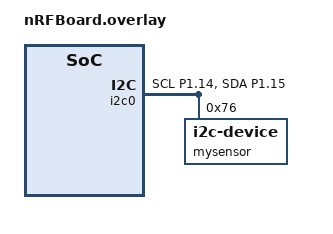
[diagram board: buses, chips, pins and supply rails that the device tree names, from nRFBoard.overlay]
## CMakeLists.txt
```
cmake_minimum_required(VERSION 3.20.0)
list(APPEND ZEPHYR_EXTRA_MODULES
  ${CMAKE_CURRENT_SOURCE_DIR}/drivers
)


find_package(Zephyr REQUIRED HINTS $ENV{ZEPHYR_BASE})

project(nrf_daq)

target_sources(app PRIVATE src/main.c)
zephyr_include_directories(drivers)
```

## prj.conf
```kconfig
CONFIG_I2C=y
CONFIG_SENSOR=y
CONFIG_PWM=y
CONFIG_CBPRINTF_FP_SUPPORT=y

CONFIG_UART_LINE_CTRL=y

CONFIG_LOG=y
CONFIG_LED_STRIP=y
CONFIG_LED_STRIP_LOG_LEVEL_DBG=y
CONFIG_WS2812_STRIP=y
CONFIG_SPI=y
```

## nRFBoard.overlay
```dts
&i2c0 {
    status = "okay";
    pinctrl-0 = <&i2c0_default>;
	pinctrl-1 = <&i2c0_sleep>;
    pinctrl-names = "default", "sleep";
    mysensor: mysensor@77{
        compatible = "i2c-device";
        status = "okay";
        reg = < 0x76>;
    };
};

&pinctrl {
	/omit-if-no-ref/ i2c0_default: i2c0_default {
		group1  {
			psels = <NRF_PSEL(TWIM_SCL, 1, 14)>,
					<NRF_PSEL(TWIM_SDA, 1, 15)>;
		};
	};

	/omit-if-no-ref/ i2c0_sleep: i2c0_sleep {
		group1  {
			psels = <NRF_PSEL(TWIM_SCL, 1, 14)>,
					<NRF_PSEL(TWIM_SDA, 1, 15)>;
			low-power-enable;
		};
	};
};
```

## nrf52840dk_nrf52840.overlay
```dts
/*
 * Copyright (c) 2023 Nordic Semiconductor ASA
 *
 * SPDX-License-Identifier: Apache-2.0
 */

/* Note that default partition layout, provided by board DTS, is not
 * altered here as external_partition used by the disk is defined
 * over QSPI device and does not collide with any other partition
 * definition.
 */

&i2c0 {	status = "disabled";};
&spi0 {	status = "disabled";};
&i2c1 {	status = "disabled";};
&spi1 {	status = "disabled";};

&i2c0 {
	status = "okay";
	pinctrl-0 = <&i2c0_default>;
	pinctrl-1 = <&i2c0_sleep>;
	pinctrl-names = "default", "sleep";
	bme280: bme280@76 {
		compatible = "zephyr,custom-bme280";
		reg = <0x76>;
	};
};

&pinctrl {
	i2c0_default: i2c0_default {
		group1 {
			psels = <NRF_PSEL(TWIM_SDA, 0, 26)>,
					<NRF_PSEL(TWIM_SCL, 0, 27)>;
		};
	};

	i2c0_sleep: i2c0_sleep {
		group1 {
			psels = <NRF_PSEL(TWIM_SDA, 0, 26)>,
					<NRF_PSEL(TWIM_SCL, 0, 27)>;
			low-power-enable;
		};
	};
};
```

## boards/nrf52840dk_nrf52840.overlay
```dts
&i2c0 {
    status = "okay";
    pinctrl-0 = <&i2c0_default>;
	pinctrl-1 = <&i2c0_sleep>;
    pinctrl-names = "default", "sleep";
    mysensor: mysensor@77{
        compatible = "i2c-device";
        status = "okay";
        reg = < 0x76>;
    };
};

&pinctrl {
	/omit-if-no-ref/ i2c0_default: i2c0_default {
		group1  {
			psels = <NRF_PSEL(TWIM_SCL, 1, 14)>,
					<NRF_PSEL(TWIM_SDA, 1, 15)>;
		};
	};

	/omit-if-no-ref/ i2c0_sleep: i2c0_sleep {
		group1  {
			psels = <NRF_PSEL(TWIM_SCL, 1, 14)>,
					<NRF_PSEL(TWIM_SDA, 1, 15)>;
			low-power-enable;
		};
	};
};
```

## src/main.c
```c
#include <zephyr/drivers/sensor.h>
#include <zephyr/drivers/i2c.h>
#include <zephyr/sys/printk.h>

// Depth sensor additions
#include <zephyr/kernel.h>
#include <zephyr/device.h>
#include <zephyr/devicetree.h>

#include "sensor/bno055/bno055.h"
#include "led/ws2812/led_driver.h"
#include "bar30/bar30.h"

#define MOVING_AVERAGE_WINDOW 10  // Samples for smoothing

// Constants for pressure to depth conversion
#define GRAV 9.80665
#define WATER_DENSITY 997.0474
#define ATM_PRESSURE 101500

// Reference to sensor in overlay file
#define I2C_NODE DT_NODELABEL(mysensor)

int pitch_history[MOVING_AVERAGE_WINDOW] = {0}; 
int history_index = 0;

int calculate_moving_average() {
    int sum = 0;
    for (int i = 0; i < MOVING_AVERAGE_WINDOW; i++) {
        sum += pitch_history[i];
    }
    return sum / MOVING_AVERAGE_WINDOW;
}

int main(void)
{
    static const struct i2c_dt_spec dev_i2c = I2C_DT_SPEC_GET(I2C_NODE);

    // Check if i2c communication is ready for depth-sensor
    if (!device_is_ready(dev_i2c.bus)) {
        printk("I2C bus not ready\n");
        return -1;
    }
  
    // Check if depth-sensor is initialized and ready
    if (bar30_init(&dev_i2c) != 0) {
        printk("Initialization failed\n");
        return -1;
    }
  
    if(setup_led()) {
        printk("Failed to setup LED\n");
        return -1;
    }

    if(setup_bno055()) {
        printk("Failed to setup BNO055\n");
        return -1;
    }


    struct bno055_euler_t euler;

    while(1) {
      
        int32_t pressure_pa;

        if (bar30_read_pressure_pa(&dev_i2c, &pressure_pa) == 0) {
            double depth = (pressure_pa - ATM_PRESSURE) / (GRAV * WATER_DENSITY);

            printk("Pressure: %d Pa\n", pressure_pa);
            printk("Depth: %.2lf m\n", depth);
        } else {
            printk("Read failed\n");
        }
      
        read_euler_hrp(&euler);
        
        // If values are too big, assume centidegrees
        int corrected_pitch = euler.p;
        if (corrected_pitch > 1000 || corrected_pitch < -1000) {
            corrected_pitch /= 100;  // Convert from centidegrees to degrees
        }

        // Clamp pitch to prevent out-of-bounds errors
        if (corrected_pitch > 180) corrected_pitch = 180;
        if (corrected_pitch < -180) corrected_pitch = -180;

        printk("Raw Pitch= %d, Corrected= %d\n", euler.p, corrected_pitch);

        // Store new value in moving average buffer
        pitch_history[history_index] = corrected_pitch;
        history_index = (history_index + 1) % MOVING_AVERAGE_WINDOW;

        // Compute moving average
        int smoothed_pitch = calculate_moving_average();

        // Map smoothed pitch to LED index
        int led_index = (((smoothed_pitch + 180) * STRIP_NUM_PIXELS) / 360)+ STRIP_NUM_PIXELS/2;

        if (led_index < 0) led_index = 0;
        if (led_index >= STRIP_NUM_PIXELS) led_index = STRIP_NUM_PIXELS - 1;

        clear_all();

        if(smoothed_pitch > 5) {
            set_color(led_index, RGB(0, 50, 0));  // Green
            printk("led_ind = %d, colr = G\n", led_index);
            set_color(led_index + 1, RGB(0, 50, 0));  // Red
        
        } else if (smoothed_pitch < -5) {
            set_color(led_index, RGB(50, 0, 0));  // Red
            set_color(led_index + 1, RGB(50, 0, 0));  // Red
            printk("led_ind = %d, colr = R\n", led_index);
        
        } else {
            clear_all();  // Neutral
            printk("led_ind = --, colr = --\n");
        }

        send_data();
        k_sleep(K_MSEC(250));
    }
}
```

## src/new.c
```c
/*
* Copyright (c) 2016 Intel Corporation
*
* SPDX-License-Identifier: Apache-2.0
*/

#include <zephyr/kernel.h>
#include <zephyr/device.h>
#include <zephyr/devicetree.h>
#include <zephyr/drivers/i2c.h>

#include <zephyr/sys/printk.h>

#define SLEEP_TIME_MS 1000

// MLX90393-SLQ-ABA-011-RE 
#define EXIT            0x80
#define RST             0x16
#define RM_REG          0x4F
#define I2C_ADDR        0x10

#define I2C0_NODE DT_NODELABEL(mag_sensor)

int main(void)
{

    int ret;

    printk("Hall effect sensor application\n");
    static const struct i2c_dt_spec dev_i2c = I2C_DT_SPEC_GET(I2C0_NODE);

    if (!device_is_ready(dev_i2c.bus)) {
        printk("I2C device not ready\n");
        return -1;
    } else {
        printk("I2C device ready\n");
        printk("I2C bus: %s, Address: 0x%X\n", dev_i2c.bus->name, dev_i2c.addr);
    }

    // set up exit
    uint8_t exit[1] = {EXIT};
    uint8_t status[1];
    ret = i2c_write_read_dt(&dev_i2c, exit, sizeof(exit), status, sizeof(status));
    if(ret != 0){
        printk("Failed to write to I2C device address %x\n", dev_i2c.addr);
    } else {
        printk("Exit set\n");
    }
    usleep(1000);

    // soft reset
    uint8_t rst[1] = {RST};
    uint8_t status[1];
    ret = i2c_write_read_dt(&dev_i2c, rst, sizeof(rst), status, sizeof(status));
    if(ret != 0){
        printk("Failed to write to I2C device address %x\n", dev_i2c.addr);
    } else {
        printk("Exit set\n");
    }
    if(status[0] & 0x04){
        printk("Reset starts\n");
    }
    usleep(1500);

    while (1) {        
        uint8_t read_buf[8];
        uint8_t read_reg[1] = {RM_REG};
        ret = i2c_write_read_dt(&dev_i2c, read_reg, 1, read_buf, 8);
        if (ret != 0) {
			printk("Failed to write/read I2C device address %x at Reg. %x \n",
			       dev_i2c.addr, read_reg[0]);
		}

        uint8_t t = (read_buf[0] << 8) | read_buf[1];
        uint8_t x = (read_buf[2] << 8) | read_buf[3];
        uint8_t y = (read_buf[4] << 8) | read_buf[5];
        uint8_t z = (read_buf[6] << 8) | read_buf[7];

        //Print reading to console  
        printk("t: %d\n", t);
        printk("x: %d\n", x);
        printk("y: %d\n", y);
        printk("z: %d\n", z);

        k_msleep(SLEEP_TIME_MS);
    }
}
```

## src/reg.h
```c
// MLX90393-SLQ-ABA-011-RE 

#define CONFIG_REG      0x10
#define CONFIG_VAL      0x16
#define RM_REG          0x4E
#define RST_REG         0xF0
#define EX_REG          0x80
#define GAIN_REG        0x00
#define READ_CMD        0x50
#define WRITE_CMD       0x60
#define RES_REG         0x02
#define SM_REG          0x3E
#define BM_REG          0x1F

#define SLEEP_TIME_US   1500

// bool Adafruit_MLX90393::_init(void) {

//     if (!exitMode())
//       return false;
  
//     if (!reset())
//       return false;
  
//     /* Set gain and sensor config. */
//     if (!setGain(MLX90393_GAIN_1X)) {
//       return false;
//     }
  
//     /* Set resolution. */
//     if (!setResolution(MLX90393_X, MLX90393_RES_16))
//       return false;
//     if (!setResolution(MLX90393_Y, MLX90393_RES_16))
//       return false;
//     if (!setResolution(MLX90393_Z, MLX90393_RES_16))
//       return false;
  
//     /* Set oversampling. */
//     if (!setOversampling(MLX90393_OSR_3))
//       return false;
  
//     /* Set digital filtering. */
//     if (!setFilter(MLX90393_FILTER_7))
//       return false;
  
//     /* set INT pin to output interrupt */
//     if (!setTrigInt(false)) {
//       return false;
//     }
  
//     return true;
//   }
```
